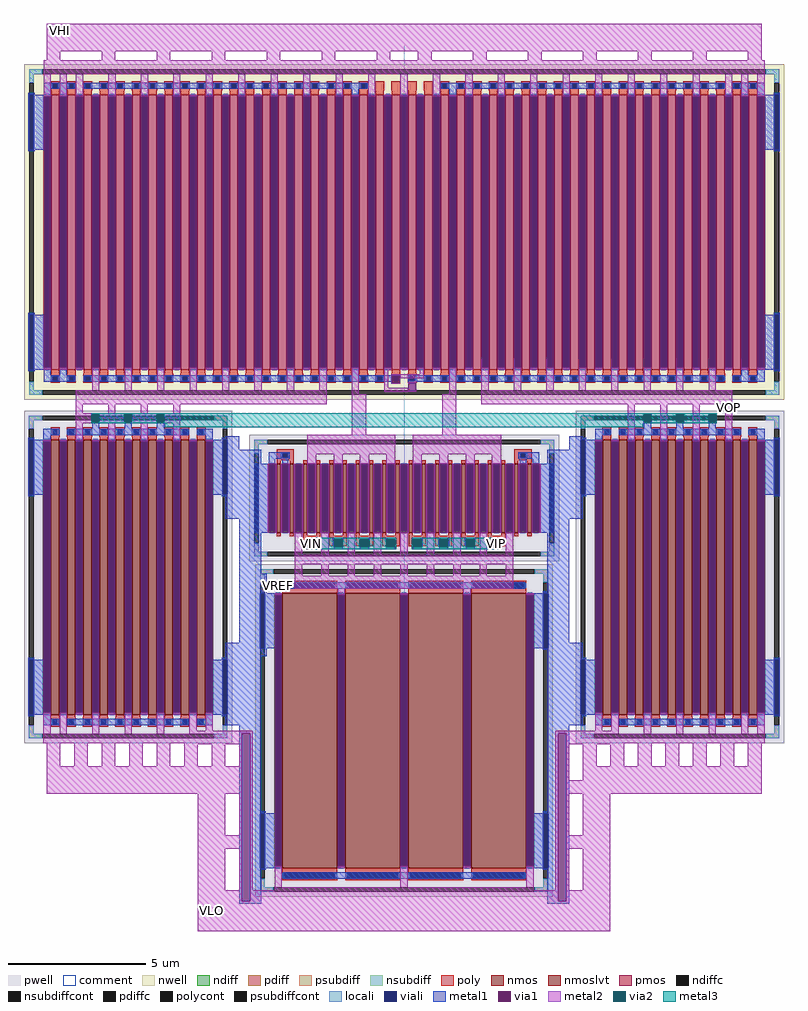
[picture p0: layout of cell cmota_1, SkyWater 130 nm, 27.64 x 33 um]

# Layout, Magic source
magic
tech sky130A
magscale 1 2
<< viali >>
rect -128 -624 -94 -224
rect 1280 -624 1314 -224
rect 3885 -624 3919 -224
rect 5293 -624 5327 -224
rect 1553 -1740 1587 -1340
rect 3613 -1740 3647 -1340
rect -128 -2224 -94 -1824
rect 1280 -2224 1314 -1824
rect 3885 -2224 3919 -1824
rect 5293 -2224 5327 -1824
rect 1553 -3340 1587 -2940
rect 3613 -3340 3647 -2940
<< metal1 >>
rect 331 -42 383 -36
rect 331 -146 383 -94
rect 567 -42 619 -36
rect 567 -146 619 -94
rect 803 -42 855 -36
rect 803 -146 855 -94
rect 4344 -42 4396 -36
rect 4344 -146 4396 -94
rect 4580 -42 4632 -36
rect 4580 -146 4632 -94
rect 4816 -42 4868 -36
rect 4816 -146 4868 -94
rect -23 -192 91 -146
rect 151 -192 1035 -146
rect 1095 -192 1209 -146
rect -134 -224 -88 -212
rect -23 -224 29 -192
rect 1157 -224 1209 -192
rect 3990 -192 4104 -146
rect 4164 -192 5048 -146
rect 5108 -192 5222 -146
rect 1300 -212 1400 -200
rect 1274 -224 1400 -212
rect -134 -624 -128 -224
rect -94 -236 29 -224
rect -94 -624 -23 -236
rect -134 -636 -88 -624
rect -134 -1824 -88 -1812
rect -134 -2224 -128 -1824
rect -94 -2212 -23 -1824
rect -94 -2224 29 -2212
rect 95 -236 147 -224
rect 95 -2224 147 -2212
rect 213 -236 265 -224
rect 213 -2224 265 -2212
rect 331 -236 383 -224
rect 331 -2224 383 -2212
rect 449 -236 501 -224
rect 449 -2224 501 -2212
rect 567 -236 619 -224
rect 567 -2224 619 -2212
rect 685 -236 737 -224
rect 685 -2224 737 -2212
rect 803 -236 855 -224
rect 803 -2224 855 -2212
rect 921 -236 973 -224
rect 921 -2224 973 -2212
rect 1039 -236 1091 -224
rect 1039 -2224 1091 -2212
rect 1157 -236 1280 -224
rect 1209 -624 1280 -236
rect 1314 -300 1400 -224
rect 3800 -212 3900 -200
rect 3800 -224 3925 -212
rect 3990 -224 4042 -192
rect 5170 -224 5222 -192
rect 5287 -224 5333 -212
rect 3800 -300 3885 -224
rect 1314 -624 1560 -300
rect 1274 -636 1560 -624
rect 1300 -800 1560 -636
rect 1400 -1200 1560 -800
rect 3640 -624 3885 -300
rect 3919 -236 4042 -224
rect 3919 -624 3990 -236
rect 3640 -636 3925 -624
rect 3640 -800 3900 -636
rect 1400 -1340 1600 -1200
rect 1672 -1308 3483 -1262
rect 3640 -1328 3800 -800
rect 3607 -1340 3800 -1328
rect 1400 -1700 1553 -1340
rect 1300 -1740 1553 -1700
rect 1587 -1352 1710 -1340
rect 1587 -1740 1658 -1352
rect 1300 -1800 1600 -1740
rect 1300 -1812 1560 -1800
rect 1274 -1824 1560 -1812
rect 1209 -2212 1280 -1824
rect 1157 -2224 1280 -2212
rect 1314 -2224 1560 -1824
rect -134 -2236 -88 -2224
rect -23 -2256 29 -2224
rect 1157 -2256 1209 -2224
rect 1274 -2236 1560 -2224
rect -23 -2302 91 -2256
rect 151 -2302 1035 -2256
rect 1095 -2302 1209 -2256
rect 1300 -2300 1560 -2236
rect 1400 -2360 1560 -2300
rect 1400 -3580 1420 -2360
rect 1480 -2928 1560 -2360
rect 1480 -2940 1593 -2928
rect 1480 -3340 1553 -2940
rect 1587 -3328 1658 -2940
rect 1587 -3340 1710 -3328
rect 2116 -1352 2168 -1340
rect 2116 -3340 2168 -3328
rect 2574 -1352 2626 -1340
rect 2574 -3340 2626 -3328
rect 3032 -1352 3084 -1340
rect 3032 -3340 3084 -3328
rect 3490 -1352 3613 -1340
rect 3542 -1740 3613 -1352
rect 3647 -1700 3800 -1340
rect 3647 -1740 3900 -1700
rect 3607 -1752 3900 -1740
rect 3640 -1812 3900 -1752
rect 3640 -1824 3925 -1812
rect 3640 -2224 3885 -1824
rect 3919 -2212 3990 -1824
rect 3919 -2224 4042 -2212
rect 4108 -236 4160 -224
rect 4108 -2224 4160 -2212
rect 4226 -236 4278 -224
rect 4226 -2224 4278 -2212
rect 4344 -236 4396 -224
rect 4344 -2224 4396 -2212
rect 4462 -236 4514 -224
rect 4462 -2224 4514 -2212
rect 4580 -236 4632 -224
rect 4580 -2224 4632 -2212
rect 4698 -236 4750 -224
rect 4698 -2224 4750 -2212
rect 4816 -236 4868 -224
rect 4816 -2224 4868 -2212
rect 4934 -236 4986 -224
rect 4934 -2224 4986 -2212
rect 5052 -236 5104 -224
rect 5052 -2224 5104 -2212
rect 5170 -236 5293 -224
rect 5222 -624 5293 -236
rect 5327 -624 5333 -224
rect 5287 -636 5333 -624
rect 5287 -1824 5333 -1812
rect 5222 -2212 5293 -1824
rect 5170 -2224 5293 -2212
rect 5327 -2224 5333 -1824
rect 3640 -2236 3925 -2224
rect 3640 -2300 3900 -2236
rect 3990 -2256 4042 -2224
rect 5170 -2256 5222 -2224
rect 5287 -2236 5333 -2224
rect 3640 -2360 3800 -2300
rect 3990 -2302 4104 -2256
rect 4164 -2302 5048 -2256
rect 5108 -2302 5222 -2256
rect 3640 -2928 3720 -2360
rect 3607 -2940 3720 -2928
rect 3542 -3328 3613 -2940
rect 3490 -3340 3613 -3328
rect 3647 -3340 3720 -2940
rect 1480 -3352 1593 -3340
rect 3607 -3352 3720 -3340
rect 1480 -3580 1560 -3352
rect 1717 -3418 3483 -3372
rect 1400 -3600 1560 -3580
rect 3640 -3580 3720 -3352
rect 3780 -3580 3800 -2360
rect 3640 -3600 3800 -3580
<< via1 >>
rect 331 -94 383 -42
rect 567 -94 619 -42
rect 803 -94 855 -42
rect 4344 -94 4396 -42
rect 4580 -94 4632 -42
rect 4816 -94 4868 -42
rect -23 -2212 29 -236
rect 95 -2212 147 -236
rect 213 -2212 265 -236
rect 331 -2212 383 -236
rect 449 -2212 501 -236
rect 567 -2212 619 -236
rect 685 -2212 737 -236
rect 803 -2212 855 -236
rect 921 -2212 973 -236
rect 1039 -2212 1091 -236
rect 1157 -2212 1209 -236
rect 1420 -3580 1480 -2360
rect 1658 -3328 1710 -1352
rect 2116 -3328 2168 -1352
rect 2574 -3328 2626 -1352
rect 3032 -3328 3084 -1352
rect 3490 -3328 3542 -1352
rect 3990 -2212 4042 -236
rect 4108 -2212 4160 -236
rect 4226 -2212 4278 -236
rect 4344 -2212 4396 -236
rect 4462 -2212 4514 -236
rect 4580 -2212 4632 -236
rect 4698 -2212 4750 -236
rect 4816 -2212 4868 -236
rect 4934 -2212 4986 -236
rect 5052 -2212 5104 -236
rect 5170 -2212 5222 -236
rect 3720 -3580 3780 -2360
<< metal2 >>
rect 0 2600 5200 2800
rect 0 2500 100 2600
rect 400 2500 500 2600
rect 800 2500 900 2600
rect 1200 2500 1300 2600
rect 1600 2500 1700 2600
rect 2000 2500 2100 2600
rect 2400 2500 2500 2600
rect 2700 2500 2800 2600
rect 3100 2500 3200 2600
rect 3500 2500 3600 2600
rect 3900 2500 4000 2600
rect 4300 2500 4400 2600
rect 4700 2500 4800 2600
rect 5100 2500 5200 2600
rect 213 34 974 136
rect 213 -31 265 34
rect 449 -31 501 34
rect 685 -31 737 34
rect 921 -31 973 34
rect 213 -40 973 -31
rect 213 -96 329 -40
rect 385 -96 565 -40
rect 621 -96 801 -40
rect 857 -96 973 -40
rect 213 -105 973 -96
rect -23 -236 29 -224
rect -23 -2364 29 -2212
rect 95 -236 147 -224
rect 95 -2364 147 -2212
rect 213 -236 265 -105
rect 213 -2224 265 -2212
rect 331 -236 383 -224
rect 331 -2364 383 -2212
rect 449 -236 501 -105
rect 449 -2224 501 -2212
rect 567 -236 619 -224
rect 567 -2364 619 -2212
rect 685 -236 737 -105
rect 685 -2224 737 -2212
rect 803 -236 855 -224
rect 803 -2364 855 -2212
rect 921 -236 973 -105
rect 921 -2224 973 -2212
rect 1039 -236 1091 -224
rect 1039 -2340 1091 -2212
rect 1157 -236 1209 -224
rect 2220 -255 2324 105
rect 2876 102 2928 105
rect 2876 -255 2980 102
rect 4226 34 4986 136
rect 3990 -236 4042 -224
rect 1805 -1216 1859 -1057
rect 1997 -1216 2051 -1057
rect 2189 -1216 2243 -1057
rect 2381 -1216 2435 -1057
rect 2573 -1216 2627 -1057
rect 2765 -1216 2819 -1057
rect 2957 -1216 3011 -1057
rect 3149 -1216 3203 -1057
rect 3341 -1216 3395 -1057
rect 1805 -1308 3395 -1216
rect 1157 -2340 1209 -2212
rect 1658 -1352 1710 -1340
rect 1039 -2360 1500 -2340
rect 1039 -2364 1420 -2360
rect -23 -2434 1420 -2364
rect 0 -2600 100 -2434
rect 200 -2600 300 -2434
rect 400 -2600 500 -2434
rect 600 -2600 700 -2434
rect 800 -2600 900 -2434
rect 1000 -2440 1420 -2434
rect 1000 -2600 1100 -2440
rect 1200 -2600 1300 -2440
rect 1400 -2600 1420 -2440
rect 0 -2800 1420 -2600
rect 1100 -3100 1300 -2800
rect 1400 -3100 1420 -2800
rect 1100 -3200 1420 -3100
rect 1100 -3500 1300 -3200
rect 1400 -3500 1420 -3200
rect 1100 -3580 1420 -3500
rect 1480 -3500 1500 -2360
rect 1658 -3480 1710 -3328
rect 2116 -1352 2168 -1308
rect 2116 -3340 2168 -3328
rect 2574 -1352 2626 -1340
rect 2574 -3480 2626 -3328
rect 3032 -1352 3084 -1308
rect 3032 -3340 3084 -3328
rect 3490 -1352 3542 -1340
rect 3990 -2340 4042 -2212
rect 4108 -236 4160 -224
rect 4108 -2340 4160 -2212
rect 4226 -236 4278 34
rect 4339 -40 4400 -31
rect 4339 -96 4342 -40
rect 4398 -96 4400 -40
rect 4339 -105 4400 -96
rect 4226 -2224 4278 -2212
rect 4344 -236 4396 -224
rect 3490 -3480 3542 -3328
rect 1658 -3500 3542 -3480
rect 3700 -2360 4160 -2340
rect 3700 -3500 3720 -2360
rect 1480 -3580 3720 -3500
rect 3780 -2364 4160 -2360
rect 4344 -2364 4396 -2212
rect 4462 -236 4514 34
rect 4575 -40 4636 -31
rect 4575 -96 4578 -40
rect 4634 -96 4636 -40
rect 4575 -105 4636 -96
rect 4462 -2224 4514 -2212
rect 4580 -236 4632 -224
rect 4580 -2364 4632 -2212
rect 4698 -236 4750 34
rect 4811 -40 4872 -31
rect 4811 -96 4814 -40
rect 4870 -96 4872 -40
rect 4811 -105 4872 -96
rect 4698 -2224 4750 -2212
rect 4816 -236 4868 -224
rect 4816 -2364 4868 -2212
rect 4934 -236 4986 34
rect 4934 -2224 4986 -2212
rect 5052 -236 5104 -224
rect 5052 -2364 5104 -2212
rect 5170 -236 5222 -224
rect 5170 -2364 5222 -2212
rect 3780 -2434 5222 -2364
rect 3780 -2440 4200 -2434
rect 3780 -2700 3800 -2440
rect 3900 -2600 4000 -2440
rect 4100 -2600 4200 -2440
rect 4300 -2600 4400 -2434
rect 4500 -2600 4600 -2434
rect 4700 -2600 4800 -2434
rect 4900 -2600 5000 -2434
rect 5100 -2600 5200 -2434
rect 3900 -2700 5200 -2600
rect 3780 -2800 5200 -2700
rect 3780 -3100 3800 -2800
rect 3900 -3100 4100 -2800
rect 3780 -3200 4100 -3100
rect 3780 -3500 3800 -3200
rect 3900 -3500 4100 -3200
rect 3780 -3580 4100 -3500
rect 1100 -3800 4100 -3580
<< via2 >>
rect 329 -42 385 -40
rect 329 -94 331 -42
rect 331 -94 383 -42
rect 383 -94 385 -42
rect 329 -96 385 -94
rect 565 -42 621 -40
rect 565 -94 567 -42
rect 567 -94 619 -42
rect 619 -94 621 -42
rect 565 -96 621 -94
rect 801 -42 857 -40
rect 801 -94 803 -42
rect 803 -94 855 -42
rect 855 -94 857 -42
rect 801 -96 857 -94
rect 4342 -42 4398 -40
rect 4342 -94 4344 -42
rect 4344 -94 4396 -42
rect 4396 -94 4398 -42
rect 4342 -96 4398 -94
rect 4578 -42 4634 -40
rect 4578 -94 4580 -42
rect 4580 -94 4632 -42
rect 4632 -94 4634 -42
rect 4578 -96 4634 -94
rect 4814 -42 4870 -40
rect 4814 -94 4816 -42
rect 4816 -94 4868 -42
rect 4868 -94 4870 -42
rect 4814 -96 4870 -94
<< metal3 >>
rect 324 -40 4875 -31
rect 324 -96 329 -40
rect 385 -96 565 -40
rect 621 -96 801 -40
rect 857 -96 4342 -40
rect 4398 -96 4578 -40
rect 4634 -96 4814 -40
rect 4870 -96 4875 -40
rect 324 -105 4875 -96
rect 860 -136 4339 -105
rect 1900 -1010 1960 -950
rect 3240 -1010 3300 -950
<< comment >>
rect 2600 -1900 2603 2640
use imirror_pfb_1_8  imirror_pfb_1_8_0
transform 1 0 1275 0 1 -4606
box -1438 4640 4088 7142
use inputpair_0p15_2p5x8_lvt  inputpair_0p15_2p5x8_lvt_0
transform 1 0 9487 0 -1 4842
box -8014 5032 -5760 5972
use sky130_fd_pr__nfet_01v8_C44ETF  sky130_fd_pr__nfet_01v8_C44ETF_0
transform 1 0 4606 0 1 -1224
box -757 -1210 757 1210
use sky130_fd_pr__nfet_01v8_C44ETF  sky130_fd_pr__nfet_01v8_C44ETF_1
transform -1 0 593 0 1 -1224
box -757 -1210 757 1210
use sky130_fd_pr__nfet_01v8_CA7RJ6  sky130_fd_pr__nfet_01v8_CA7RJ6_0
transform 1 0 2600 0 1 -2340
box -1083 -1210 1083 1210
<< labels >>
rlabel metal2 0 2700 200 2800 1 VHI
rlabel metal2 1100 -3700 1300 -3600 1 VLO
rlabel metal3 1900 -1010 1960 -950 1 VIN
rlabel metal3 3240 -1010 3300 -950 1 VIP
rlabel metal2 4940 -10 4980 30 1 VOP
rlabel metal1 1672 -1308 1697 -1262 1 VREF
<< end >>

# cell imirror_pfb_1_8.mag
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
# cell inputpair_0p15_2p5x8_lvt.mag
magic
tech sky130A
<< pwell >>
rect -4007 2516 -2880 2976
<< nmoslvt >>
rect -3907 2621 -3892 2871
rect -3859 2621 -3844 2871
rect -3811 2621 -3796 2871
rect -3763 2621 -3748 2871
rect -3715 2621 -3700 2871
rect -3667 2621 -3652 2871
rect -3619 2621 -3604 2871
rect -3571 2621 -3556 2871
rect -3523 2621 -3508 2871
rect -3475 2621 -3460 2871
rect -3427 2621 -3412 2871
rect -3379 2621 -3364 2871
rect -3331 2621 -3316 2871
rect -3283 2621 -3268 2871
rect -3235 2621 -3220 2871
rect -3187 2621 -3172 2871
rect -3139 2621 -3124 2871
rect -3091 2621 -3076 2871
rect -3043 2621 -3028 2871
rect -2995 2621 -2980 2871
<< ndiff >>
rect -3938 2865 -3907 2871
rect -3938 2627 -3932 2865
rect -3915 2627 -3907 2865
rect -3938 2621 -3907 2627
rect -3892 2865 -3859 2871
rect -3892 2627 -3884 2865
rect -3867 2627 -3859 2865
rect -3892 2621 -3859 2627
rect -3844 2865 -3811 2871
rect -3844 2627 -3836 2865
rect -3819 2627 -3811 2865
rect -3844 2621 -3811 2627
rect -3796 2865 -3763 2871
rect -3796 2627 -3788 2865
rect -3771 2627 -3763 2865
rect -3796 2621 -3763 2627
rect -3748 2865 -3715 2871
rect -3748 2627 -3740 2865
rect -3723 2627 -3715 2865
rect -3748 2621 -3715 2627
rect -3700 2865 -3667 2871
rect -3700 2627 -3692 2865
rect -3675 2627 -3667 2865
rect -3700 2621 -3667 2627
rect -3652 2865 -3619 2871
rect -3652 2627 -3644 2865
rect -3627 2627 -3619 2865
rect -3652 2621 -3619 2627
rect -3604 2865 -3571 2871
rect -3604 2627 -3596 2865
rect -3579 2627 -3571 2865
rect -3604 2621 -3571 2627
rect -3556 2865 -3523 2871
rect -3556 2627 -3548 2865
rect -3531 2627 -3523 2865
rect -3556 2621 -3523 2627
rect -3508 2865 -3475 2871
rect -3508 2627 -3500 2865
rect -3483 2627 -3475 2865
rect -3508 2621 -3475 2627
rect -3460 2865 -3427 2871
rect -3460 2627 -3452 2865
rect -3435 2627 -3427 2865
rect -3460 2621 -3427 2627
rect -3412 2865 -3379 2871
rect -3412 2627 -3404 2865
rect -3387 2627 -3379 2865
rect -3412 2621 -3379 2627
rect -3364 2865 -3331 2871
rect -3364 2627 -3356 2865
rect -3339 2627 -3331 2865
rect -3364 2621 -3331 2627
rect -3316 2865 -3283 2871
rect -3316 2627 -3308 2865
rect -3291 2627 -3283 2865
rect -3316 2621 -3283 2627
rect -3268 2865 -3235 2871
rect -3268 2627 -3260 2865
rect -3243 2627 -3235 2865
rect -3268 2621 -3235 2627
rect -3220 2865 -3187 2871
rect -3220 2627 -3212 2865
rect -3195 2627 -3187 2865
rect -3220 2621 -3187 2627
rect -3172 2865 -3139 2871
rect -3172 2627 -3164 2865
rect -3147 2627 -3139 2865
rect -3172 2621 -3139 2627
rect -3124 2865 -3091 2871
rect -3124 2627 -3116 2865
rect -3099 2627 -3091 2865
rect -3124 2621 -3091 2627
rect -3076 2865 -3043 2871
rect -3076 2627 -3068 2865
rect -3051 2627 -3043 2865
rect -3076 2621 -3043 2627
rect -3028 2865 -2995 2871
rect -3028 2627 -3020 2865
rect -3003 2627 -2995 2865
rect -3028 2621 -2995 2627
rect -2980 2865 -2949 2871
rect -2980 2627 -2972 2865
rect -2955 2627 -2949 2865
rect -2980 2621 -2949 2627
<< ndiffc >>
rect -3932 2627 -3915 2865
rect -3884 2627 -3867 2865
rect -3836 2627 -3819 2865
rect -3788 2627 -3771 2865
rect -3740 2627 -3723 2865
rect -3692 2627 -3675 2865
rect -3644 2627 -3627 2865
rect -3596 2627 -3579 2865
rect -3548 2627 -3531 2865
rect -3500 2627 -3483 2865
rect -3452 2627 -3435 2865
rect -3404 2627 -3387 2865
rect -3356 2627 -3339 2865
rect -3308 2627 -3291 2865
rect -3260 2627 -3243 2865
rect -3212 2627 -3195 2865
rect -3164 2627 -3147 2865
rect -3116 2627 -3099 2865
rect -3068 2627 -3051 2865
rect -3020 2627 -3003 2865
rect -2972 2627 -2955 2865
<< psubdiff >>
rect -3989 2941 -3941 2958
rect -2946 2941 -2898 2958
rect -3989 2910 -3972 2941
rect -2915 2910 -2898 2941
rect -3989 2551 -3972 2582
rect -2915 2551 -2898 2582
rect -3989 2534 -3941 2551
rect -2946 2534 -2898 2551
<< psubdiffcont >>
rect -3941 2941 -2946 2958
rect -3989 2582 -3972 2910
rect -2915 2582 -2898 2910
rect -3941 2534 -2946 2551
<< poly >>
rect -3811 2913 -3748 2921
rect -3811 2896 -3788 2913
rect -3771 2896 -3748 2913
rect -3907 2871 -3892 2884
rect -3859 2871 -3844 2884
rect -3811 2882 -3748 2896
rect -3811 2871 -3796 2882
rect -3763 2871 -3748 2882
rect -3715 2913 -3652 2921
rect -3715 2896 -3692 2913
rect -3675 2896 -3652 2913
rect -3715 2882 -3652 2896
rect -3715 2871 -3700 2882
rect -3667 2871 -3652 2882
rect -3619 2913 -3556 2921
rect -3619 2896 -3596 2913
rect -3579 2896 -3556 2913
rect -3619 2882 -3556 2896
rect -3619 2871 -3604 2882
rect -3571 2871 -3556 2882
rect -3523 2913 -3460 2921
rect -3523 2896 -3500 2913
rect -3483 2896 -3460 2913
rect -3523 2882 -3460 2896
rect -3523 2871 -3508 2882
rect -3475 2871 -3460 2882
rect -3427 2913 -3364 2921
rect -3427 2896 -3404 2913
rect -3387 2896 -3364 2913
rect -3427 2882 -3364 2896
rect -3427 2871 -3412 2882
rect -3379 2871 -3364 2882
rect -3331 2913 -3268 2921
rect -3331 2896 -3308 2913
rect -3291 2896 -3268 2913
rect -3331 2882 -3268 2896
rect -3331 2871 -3316 2882
rect -3283 2871 -3268 2882
rect -3235 2913 -3172 2921
rect -3235 2896 -3212 2913
rect -3195 2896 -3172 2913
rect -3235 2882 -3172 2896
rect -3235 2871 -3220 2882
rect -3187 2871 -3172 2882
rect -3139 2913 -3076 2921
rect -3139 2896 -3116 2913
rect -3099 2896 -3076 2913
rect -3139 2882 -3076 2896
rect -3139 2871 -3124 2882
rect -3091 2871 -3076 2882
rect -3043 2871 -3028 2884
rect -2995 2871 -2980 2884
rect -3907 2608 -3892 2621
rect -3859 2608 -3844 2621
rect -3811 2608 -3796 2621
rect -3763 2608 -3748 2621
rect -3715 2608 -3700 2621
rect -3667 2608 -3652 2621
rect -3619 2608 -3604 2621
rect -3571 2608 -3556 2621
rect -3523 2608 -3508 2621
rect -3475 2608 -3460 2621
rect -3427 2608 -3412 2621
rect -3379 2608 -3364 2621
rect -3331 2608 -3316 2621
rect -3283 2608 -3268 2621
rect -3235 2608 -3220 2621
rect -3187 2608 -3172 2621
rect -3139 2608 -3124 2621
rect -3091 2608 -3076 2621
rect -3043 2608 -3028 2621
rect -2995 2608 -2980 2621
rect -3907 2600 -3844 2608
rect -3907 2583 -3884 2600
rect -3867 2583 -3844 2600
rect -3907 2569 -3844 2583
rect -3043 2600 -2980 2608
rect -3043 2583 -3020 2600
rect -3003 2583 -2980 2600
rect -3043 2569 -2980 2583
<< polycont >>
rect -3788 2896 -3771 2913
rect -3692 2896 -3675 2913
rect -3596 2896 -3579 2913
rect -3500 2896 -3483 2913
rect -3404 2896 -3387 2913
rect -3308 2896 -3291 2913
rect -3212 2896 -3195 2913
rect -3116 2896 -3099 2913
rect -3884 2583 -3867 2600
rect -3020 2583 -3003 2600
<< locali >>
rect -3989 2941 -3941 2958
rect -2946 2941 -2898 2958
rect -3989 2910 -3972 2941
rect -3796 2896 -3788 2913
rect -3771 2896 -3763 2913
rect -3700 2896 -3692 2913
rect -3675 2896 -3667 2913
rect -3604 2896 -3596 2913
rect -3579 2896 -3571 2913
rect -3508 2896 -3500 2913
rect -3483 2896 -3475 2913
rect -3412 2896 -3404 2913
rect -3387 2896 -3379 2913
rect -3316 2896 -3308 2913
rect -3291 2896 -3283 2913
rect -3220 2896 -3212 2913
rect -3195 2896 -3187 2913
rect -3124 2896 -3116 2913
rect -3099 2896 -3091 2913
rect -2915 2910 -2898 2941
rect -3932 2865 -3915 2873
rect -3932 2619 -3915 2627
rect -3884 2865 -3867 2873
rect -3884 2619 -3867 2627
rect -3836 2865 -3819 2873
rect -3836 2619 -3819 2627
rect -3788 2865 -3771 2873
rect -3788 2619 -3771 2627
rect -3740 2865 -3723 2873
rect -3740 2619 -3723 2627
rect -3692 2865 -3675 2873
rect -3692 2619 -3675 2627
rect -3644 2865 -3627 2873
rect -3644 2619 -3627 2627
rect -3596 2865 -3579 2873
rect -3596 2619 -3579 2627
rect -3548 2865 -3531 2873
rect -3548 2619 -3531 2627
rect -3500 2865 -3483 2873
rect -3500 2619 -3483 2627
rect -3452 2865 -3435 2873
rect -3452 2619 -3435 2627
rect -3404 2865 -3387 2873
rect -3404 2619 -3387 2627
rect -3356 2865 -3339 2873
rect -3356 2619 -3339 2627
rect -3308 2865 -3291 2873
rect -3308 2619 -3291 2627
rect -3260 2865 -3243 2873
rect -3260 2619 -3243 2627
rect -3212 2865 -3195 2873
rect -3212 2619 -3195 2627
rect -3164 2865 -3147 2873
rect -3164 2619 -3147 2627
rect -3116 2865 -3099 2873
rect -3116 2619 -3099 2627
rect -3068 2865 -3051 2873
rect -3068 2619 -3051 2627
rect -3020 2865 -3003 2873
rect -3020 2619 -3003 2627
rect -2972 2865 -2955 2873
rect -2972 2619 -2955 2627
rect -3892 2583 -3884 2600
rect -3867 2583 -3859 2600
rect -3028 2583 -3020 2600
rect -3003 2583 -2995 2600
rect -3989 2551 -3972 2582
rect -2915 2551 -2898 2582
rect -3989 2534 -3941 2551
rect -2946 2534 -2898 2551
<< viali >>
rect -3788 2896 -3771 2913
rect -3692 2896 -3675 2913
rect -3596 2896 -3579 2913
rect -3500 2896 -3483 2913
rect -3404 2896 -3387 2913
rect -3308 2896 -3291 2913
rect -3212 2896 -3195 2913
rect -3116 2896 -3099 2913
rect -3989 2621 -3972 2871
rect -3932 2627 -3915 2865
rect -3884 2627 -3867 2865
rect -3836 2627 -3819 2865
rect -3788 2627 -3771 2865
rect -3740 2627 -3723 2865
rect -3692 2627 -3675 2865
rect -3644 2627 -3627 2865
rect -3596 2627 -3579 2865
rect -3548 2627 -3531 2865
rect -3500 2627 -3483 2865
rect -3452 2627 -3435 2865
rect -3404 2627 -3387 2865
rect -3356 2627 -3339 2865
rect -3308 2627 -3291 2865
rect -3260 2627 -3243 2865
rect -3212 2627 -3195 2865
rect -3164 2627 -3147 2865
rect -3116 2627 -3099 2865
rect -3068 2627 -3051 2865
rect -3020 2627 -3003 2865
rect -2972 2627 -2955 2865
rect -2915 2621 -2898 2871
rect -3884 2583 -3867 2600
rect -3020 2583 -3003 2600
<< metal1 >>
rect -3799 2893 -3796 2921
rect -3763 2893 -3760 2921
rect -3703 2893 -3700 2921
rect -3667 2893 -3664 2921
rect -3607 2893 -3604 2921
rect -3571 2893 -3568 2921
rect -3511 2893 -3508 2921
rect -3475 2893 -3472 2921
rect -3415 2893 -3412 2921
rect -3379 2893 -3376 2921
rect -3319 2893 -3316 2921
rect -3283 2893 -3280 2921
rect -3223 2893 -3220 2921
rect -3187 2893 -3184 2921
rect -3127 2893 -3124 2921
rect -3091 2893 -3088 2921
rect -3992 2871 -3969 2877
rect -2918 2871 -2895 2877
rect -3992 2621 -3989 2871
rect -3972 2621 -3937 2871
rect -3910 2621 -3907 2871
rect -3892 2621 -3889 2871
rect -3862 2621 -3859 2871
rect -3844 2621 -3841 2871
rect -3814 2621 -3811 2871
rect -3796 2621 -3793 2871
rect -3766 2621 -3763 2871
rect -3748 2621 -3745 2871
rect -3718 2621 -3715 2871
rect -3700 2621 -3697 2871
rect -3670 2621 -3667 2871
rect -3652 2621 -3649 2871
rect -3622 2621 -3619 2871
rect -3604 2621 -3601 2871
rect -3574 2621 -3571 2871
rect -3556 2621 -3553 2871
rect -3526 2621 -3523 2871
rect -3508 2621 -3505 2871
rect -3478 2621 -3475 2871
rect -3460 2621 -3457 2871
rect -3430 2621 -3427 2871
rect -3412 2621 -3409 2871
rect -3382 2621 -3379 2871
rect -3364 2621 -3361 2871
rect -3334 2621 -3331 2871
rect -3316 2621 -3313 2871
rect -3286 2621 -3283 2871
rect -3268 2621 -3265 2871
rect -3238 2621 -3235 2871
rect -3220 2621 -3217 2871
rect -3190 2621 -3187 2871
rect -3172 2621 -3169 2871
rect -3142 2621 -3139 2871
rect -3124 2621 -3121 2871
rect -3094 2621 -3091 2871
rect -3076 2621 -3073 2871
rect -3046 2621 -3043 2871
rect -3028 2621 -3025 2871
rect -2998 2621 -2995 2871
rect -2980 2621 -2977 2871
rect -2950 2621 -2915 2871
rect -2898 2621 -2895 2871
rect -3992 2615 -3969 2621
rect -3935 2603 -3912 2621
rect -3887 2603 -3864 2621
rect -3023 2603 -3000 2621
rect -2975 2603 -2952 2621
rect -2918 2615 -2895 2621
rect -3935 2600 -3859 2603
rect -3935 2583 -3884 2600
rect -3867 2583 -3859 2600
rect -3935 2580 -3859 2583
rect -3028 2600 -2952 2603
rect -3028 2583 -3020 2600
rect -3003 2583 -2952 2600
rect -3028 2580 -2952 2583
<< via1 >>
rect -3796 2913 -3763 2921
rect -3796 2896 -3788 2913
rect -3788 2896 -3771 2913
rect -3771 2896 -3763 2913
rect -3796 2893 -3763 2896
rect -3700 2913 -3667 2921
rect -3700 2896 -3692 2913
rect -3692 2896 -3675 2913
rect -3675 2896 -3667 2913
rect -3700 2893 -3667 2896
rect -3604 2913 -3571 2921
rect -3604 2896 -3596 2913
rect -3596 2896 -3579 2913
rect -3579 2896 -3571 2913
rect -3604 2893 -3571 2896
rect -3508 2913 -3475 2921
rect -3508 2896 -3500 2913
rect -3500 2896 -3483 2913
rect -3483 2896 -3475 2913
rect -3508 2893 -3475 2896
rect -3412 2913 -3379 2921
rect -3412 2896 -3404 2913
rect -3404 2896 -3387 2913
rect -3387 2896 -3379 2913
rect -3412 2893 -3379 2896
rect -3316 2913 -3283 2921
rect -3316 2896 -3308 2913
rect -3308 2896 -3291 2913
rect -3291 2896 -3283 2913
rect -3316 2893 -3283 2896
rect -3220 2913 -3187 2921
rect -3220 2896 -3212 2913
rect -3212 2896 -3195 2913
rect -3195 2896 -3187 2913
rect -3220 2893 -3187 2896
rect -3124 2913 -3091 2921
rect -3124 2896 -3116 2913
rect -3116 2896 -3099 2913
rect -3099 2896 -3091 2913
rect -3124 2893 -3091 2896
rect -3937 2865 -3910 2871
rect -3937 2627 -3932 2865
rect -3932 2627 -3915 2865
rect -3915 2627 -3910 2865
rect -3937 2621 -3910 2627
rect -3889 2865 -3862 2871
rect -3889 2627 -3884 2865
rect -3884 2627 -3867 2865
rect -3867 2627 -3862 2865
rect -3889 2621 -3862 2627
rect -3841 2865 -3814 2871
rect -3841 2627 -3836 2865
rect -3836 2627 -3819 2865
rect -3819 2627 -3814 2865
rect -3841 2621 -3814 2627
rect -3793 2865 -3766 2871
rect -3793 2627 -3788 2865
rect -3788 2627 -3771 2865
rect -3771 2627 -3766 2865
rect -3793 2621 -3766 2627
rect -3745 2865 -3718 2871
rect -3745 2627 -3740 2865
rect -3740 2627 -3723 2865
rect -3723 2627 -3718 2865
rect -3745 2621 -3718 2627
rect -3697 2865 -3670 2871
rect -3697 2627 -3692 2865
rect -3692 2627 -3675 2865
rect -3675 2627 -3670 2865
rect -3697 2621 -3670 2627
rect -3649 2865 -3622 2871
rect -3649 2627 -3644 2865
rect -3644 2627 -3627 2865
rect -3627 2627 -3622 2865
rect -3649 2621 -3622 2627
rect -3601 2865 -3574 2871
rect -3601 2627 -3596 2865
rect -3596 2627 -3579 2865
rect -3579 2627 -3574 2865
rect -3601 2621 -3574 2627
rect -3553 2865 -3526 2871
rect -3553 2627 -3548 2865
rect -3548 2627 -3531 2865
rect -3531 2627 -3526 2865
rect -3553 2621 -3526 2627
rect -3505 2865 -3478 2871
rect -3505 2627 -3500 2865
rect -3500 2627 -3483 2865
rect -3483 2627 -3478 2865
rect -3505 2621 -3478 2627
rect -3457 2865 -3430 2871
rect -3457 2627 -3452 2865
rect -3452 2627 -3435 2865
rect -3435 2627 -3430 2865
rect -3457 2621 -3430 2627
rect -3409 2865 -3382 2871
rect -3409 2627 -3404 2865
rect -3404 2627 -3387 2865
rect -3387 2627 -3382 2865
rect -3409 2621 -3382 2627
rect -3361 2865 -3334 2871
rect -3361 2627 -3356 2865
rect -3356 2627 -3339 2865
rect -3339 2627 -3334 2865
rect -3361 2621 -3334 2627
rect -3313 2865 -3286 2871
rect -3313 2627 -3308 2865
rect -3308 2627 -3291 2865
rect -3291 2627 -3286 2865
rect -3313 2621 -3286 2627
rect -3265 2865 -3238 2871
rect -3265 2627 -3260 2865
rect -3260 2627 -3243 2865
rect -3243 2627 -3238 2865
rect -3265 2621 -3238 2627
rect -3217 2865 -3190 2871
rect -3217 2627 -3212 2865
rect -3212 2627 -3195 2865
rect -3195 2627 -3190 2865
rect -3217 2621 -3190 2627
rect -3169 2865 -3142 2871
rect -3169 2627 -3164 2865
rect -3164 2627 -3147 2865
rect -3147 2627 -3142 2865
rect -3169 2621 -3142 2627
rect -3121 2865 -3094 2871
rect -3121 2627 -3116 2865
rect -3116 2627 -3099 2865
rect -3099 2627 -3094 2865
rect -3121 2621 -3094 2627
rect -3073 2865 -3046 2871
rect -3073 2627 -3068 2865
rect -3068 2627 -3051 2865
rect -3051 2627 -3046 2865
rect -3073 2621 -3046 2627
rect -3025 2865 -2998 2871
rect -3025 2627 -3020 2865
rect -3020 2627 -3003 2865
rect -3003 2627 -2998 2865
rect -3025 2621 -2998 2627
rect -2977 2865 -2950 2871
rect -2977 2627 -2972 2865
rect -2972 2627 -2955 2865
rect -2955 2627 -2950 2865
rect -2977 2621 -2950 2627
<< metal2 >>
rect -3841 2951 -3046 2986
rect -3841 2871 -3814 2951
rect -3796 2924 -3763 2931
rect -3796 2890 -3763 2893
rect -3745 2871 -3718 2951
rect -3700 2924 -3667 2931
rect -3700 2890 -3667 2893
rect -3649 2871 -3622 2951
rect -3604 2924 -3571 2931
rect -3604 2890 -3571 2893
rect -3553 2871 -3526 2951
rect -3508 2924 -3475 2931
rect -3508 2890 -3475 2893
rect -3457 2871 -3430 2951
rect -3412 2924 -3379 2931
rect -3412 2890 -3379 2893
rect -3361 2871 -3334 2951
rect -3316 2924 -3283 2931
rect -3316 2890 -3283 2893
rect -3265 2871 -3238 2951
rect -3220 2924 -3187 2931
rect -3220 2890 -3187 2893
rect -3169 2871 -3142 2951
rect -3124 2924 -3091 2931
rect -3124 2890 -3091 2893
rect -3073 2871 -3046 2951
rect -3940 2621 -3937 2871
rect -3910 2621 -3907 2871
rect -3892 2621 -3889 2871
rect -3862 2621 -3859 2871
rect -3844 2621 -3841 2871
rect -3814 2621 -3811 2871
rect -3796 2621 -3793 2871
rect -3766 2621 -3763 2871
rect -3748 2621 -3745 2871
rect -3718 2621 -3715 2871
rect -3700 2621 -3697 2871
rect -3670 2621 -3667 2871
rect -3652 2621 -3649 2871
rect -3622 2621 -3619 2871
rect -3604 2621 -3601 2871
rect -3574 2621 -3571 2871
rect -3556 2621 -3553 2871
rect -3526 2621 -3523 2871
rect -3508 2621 -3505 2871
rect -3478 2621 -3475 2871
rect -3460 2621 -3457 2871
rect -3430 2621 -3427 2871
rect -3412 2621 -3409 2871
rect -3382 2621 -3379 2871
rect -3364 2621 -3361 2871
rect -3334 2621 -3331 2871
rect -3316 2621 -3313 2871
rect -3286 2621 -3283 2871
rect -3268 2621 -3265 2871
rect -3238 2621 -3235 2871
rect -3220 2621 -3217 2871
rect -3190 2621 -3187 2871
rect -3172 2621 -3169 2871
rect -3142 2621 -3139 2871
rect -3124 2621 -3121 2871
rect -3094 2621 -3091 2871
rect -3076 2621 -3073 2871
rect -3046 2621 -3043 2871
rect -3028 2621 -3025 2871
rect -2998 2621 -2995 2871
rect -2980 2621 -2977 2871
rect -2950 2621 -2947 2871
rect -3796 2586 -3763 2621
rect -3700 2586 -3667 2621
rect -3604 2586 -3571 2621
rect -3508 2586 -3475 2621
rect -3796 2516 -3475 2586
rect -3412 2586 -3379 2621
rect -3316 2586 -3283 2621
rect -3220 2586 -3187 2621
rect -3124 2586 -3091 2621
rect -3412 2516 -3091 2586
<< via2 >>
rect -3796 2921 -3763 2924
rect -3796 2896 -3763 2921
rect -3700 2921 -3667 2924
rect -3700 2896 -3667 2921
rect -3604 2921 -3571 2924
rect -3604 2896 -3571 2921
rect -3508 2921 -3475 2924
rect -3508 2896 -3475 2921
rect -3412 2921 -3379 2924
rect -3412 2896 -3379 2921
rect -3316 2921 -3283 2924
rect -3316 2896 -3283 2921
rect -3220 2921 -3187 2924
rect -3220 2896 -3187 2921
rect -3124 2921 -3091 2924
rect -3124 2896 -3091 2921
<< metal3 >>
rect -3799 2924 -3472 2931
rect -3799 2896 -3796 2924
rect -3763 2896 -3700 2924
rect -3667 2896 -3604 2924
rect -3571 2896 -3508 2924
rect -3475 2896 -3472 2924
rect -3799 2890 -3472 2896
rect -3415 2924 -3088 2931
rect -3415 2896 -3412 2924
rect -3379 2896 -3316 2924
rect -3283 2896 -3220 2924
rect -3187 2896 -3124 2924
rect -3091 2896 -3088 2924
rect -3415 2890 -3088 2896
<< labels >>
rlabel metal2 -3841 2977 -3800 2986 1 CS
rlabel metal3 -3761 2923 -3747 2931 1 G1
rlabel metal3 -3331 2923 -3317 2931 1 G2
rlabel metal2 -3796 2516 -3782 2524 1 D1
rlabel metal2 -3412 2516 -3398 2524 1 D2
rlabel metal1 -3935 2580 -3912 2603 1 GND
<< end >>

# cell sky130_fd_pr__nfet_01v8_C44ETF: kit device sky130_fd_pr__nfet_01v8, w 10 l 0.3 m 1 nf 10 diffcov 100 polycov 100 guard 1 glc 1 grc 1 gtc 1 gbc 1 tbcov 100 rlcov 100 topc 1 botc 1 poverlap 0 doverlap 1 lmin 0.15 wmin 0.42 compatible {sky130_fd_pr__nfet_01v8 sky130_fd_pr__nfet_01v8_lvt sky130_fd_bs_flash__special_sonosfet_star sky130_fd_pr__nfet_g5v0d10v5 sky130_fd_pr__nfet_05v0_nvt sky130_fd_pr__nfet_03v3_nvt} full_metal 1 viasrc 100 viadrn 100 viagate 100 viagb 0 viagr 0 viagl 0 viagt 0

# cell sky130_fd_pr__nfet_01v8_CA7RJ6: kit device sky130_fd_pr__nfet_01v8, w 10 l 2 m 1 nf 4 diffcov 100 polycov 100 guard 1 glc 1 grc 1 gtc 1 gbc 1 tbcov 100 rlcov 100 topc 1 botc 1 poverlap 0 doverlap 1 lmin 0.15 wmin 0.42 compatible {sky130_fd_pr__nfet_01v8 sky130_fd_pr__nfet_01v8_lvt sky130_fd_bs_flash__special_sonosfet_star sky130_fd_pr__nfet_g5v0d10v5 sky130_fd_pr__nfet_05v0_nvt sky130_fd_pr__nfet_03v3_nvt} full_metal 1 viasrc 100 viadrn 100 viagate 100 viagb 0 viagr 0 viagl 0 viagt 0
